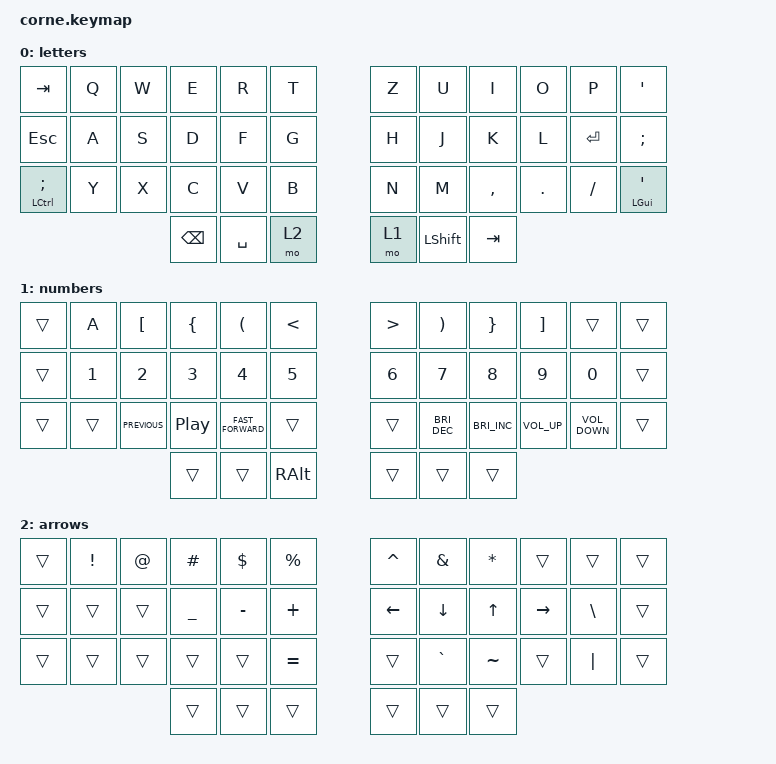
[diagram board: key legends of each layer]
/*
 * Copyright (c) 2020 The ZMK Contributors
 *
 * SPDX-License-Identifier: MIT
 */

#include <behaviors.dtsi>
#include <dt-bindings/zmk/keys.h>

/ {
    keymap {
        compatible = "zmk,keymap";

        letters {
            bindings = <
&kp TAB              &kp Q  &kp W  &kp E          &kp R      &kp T    &kp Z  &kp U           &kp I      &kp O       &kp P     &kp SQT
&kp ESCAPE           &kp A  &kp S  &kp D          &kp F      &kp G    &kp H  &kp J           &kp K      &kp L       &kp RET   &kp SEMICOLON
&mt LCTRL SEMICOLON  &kp Y  &kp X  &kp C          &kp V      &kp B    &kp N  &kp M           &kp COMMA  &kp PERIOD  &kp FSLH  &mt LGUI SINGLE_QUOTE
                                   &kp BACKSPACE  &kp SPACE  &mo 2    &mo 1  &kp LEFT_SHIFT  &kp TAB
            >;
        };

        numbers {
            bindings = <
&trans  &kp A         &kp LEFT_BRACKET  &kp LEFT_BRACE    &kp LEFT_PARENTHESIS  &kp LESS_THAN    &kp GREATER_THAN  &kp RIGHT_PARENTHESIS  &kp RIGHT_BRACE       &kp RIGHT_BRACKET  &trans             &trans
&trans  &kp NUMBER_1  &kp NUMBER_2      &kp NUMBER_3      &kp NUMBER_4          &kp NUMBER_5     &kp NUMBER_6      &kp NUMBER_7           &kp NUMBER_8          &kp NUMBER_9       &kp NUMBER_0       &trans
&trans  &trans        &kp C_PREVIOUS    &kp C_PLAY_PAUSE  &kp C_FAST_FORWARD    &trans           &trans            &kp C_BRIGHTNESS_DEC   &kp C_BRIGHTNESS_INC  &kp C_VOLUME_UP    &kp C_VOLUME_DOWN  &trans
                                        &trans            &trans                &kp RALT         &trans            &trans                 &trans
            >;
        };

        arrows {
            bindings = <
&trans  &kp EXCL  &kp AT  &kp HASH        &kp DLLR   &kp PRCNT    &kp CARET       &kp AMPS        &kp ASTRK     &trans           &trans    &trans
&trans  &trans    &trans  &kp UNDERSCORE  &kp MINUS  &kp PLUS     &kp LEFT_ARROW  &kp DOWN_ARROW  &kp UP_ARROW  &kp RIGHT_ARROW  &kp BSLH  &trans
&trans  &trans    &trans  &trans          &trans     &kp EQUAL    &trans          &kp GRAVE       &kp TILDE     &trans           &kp PIPE  &trans
                          &trans          &trans     &trans       &trans          &trans          &trans
            >;
        };
    };
};
